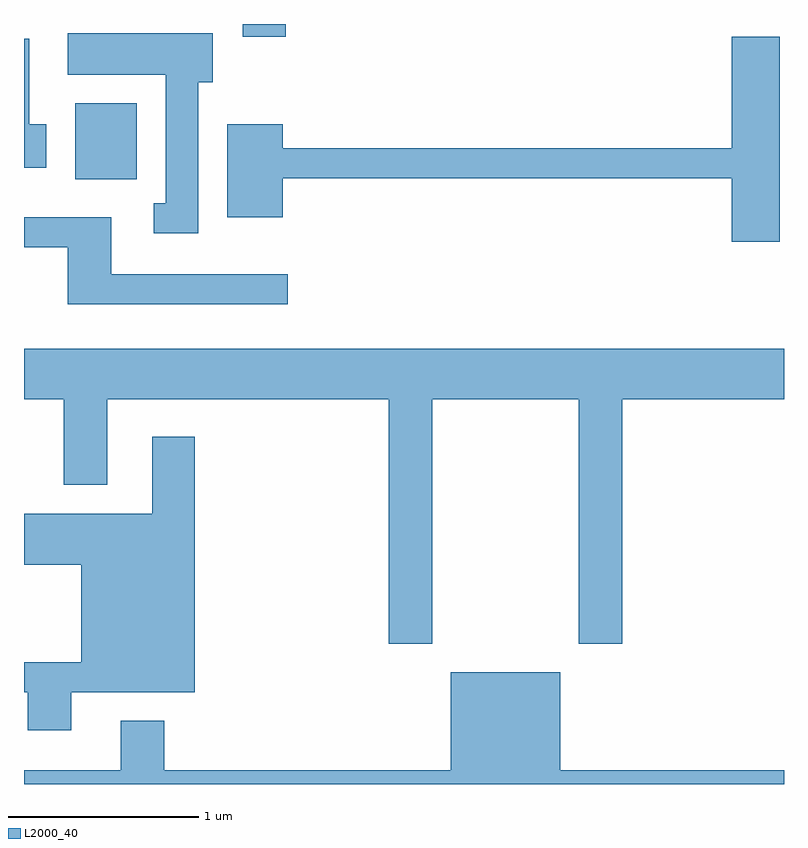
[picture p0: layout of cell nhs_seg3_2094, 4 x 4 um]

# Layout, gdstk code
import gdstk
lib = gdstk.Library(unit=1e-6, precision=1e-09)
def R(c, l, rs):  # rectangles x0, y0, x1, y1
    for r in rs: c.add(gdstk.rectangle(r[:2], r[2:], *l))
def P(c, l, *ps):  # polygons
    for p in ps: c.add(gdstk.Polygon(p, *l))
L2000_40 = (2000, 40)

nhs_seg3_2094 = lib.new_cell('nhs_seg3_2094')
R(nhs_seg3_2094, L2000_40, [(245.881,1227.076,246.204,1227.474), (246.761,1227.826,246.989,1227.892)])
P(nhs_seg3_2094, L2000_40, [(246.529,1227.586),(246.604,1227.586),(246.604,1227.844),(245.841,1227.844),(245.841,1227.626),(246.356,1227.626),(246.356,1226.949),(246.293,1226.949),(246.293,1226.791),(246.529,1226.791)],
  [(249.589,1227.824),(249.336,1227.824),(249.336,1227.239),(246.974,1227.239),(246.974,1227.364),(246.681,1227.364),(246.681,1226.876),(246.974,1226.876),(246.974,1227.081),(249.336,1227.081),(249.336,1226.746),(249.589,1226.746)],
  [(245.729,1227.364),(245.639,1227.364),(245.639,1227.814),(245.611,1227.814),(245.611,1227.136),(245.729,1227.136)],
  [(246.998,1226.574),(246.069,1226.574),(246.069,1226.874),(245.611,1226.874),(245.611,1226.716),(245.841,1226.716),(245.841,1226.416),(246.998,1226.416)],
  [(247.759,1225.916),(248.531,1225.916),(248.531,1224.631),(248.759,1224.631),(248.759,1225.916),(249.611,1225.916),(249.611,1226.184),(245.611,1226.184),(245.611,1225.916),(245.821,1225.916),(245.821,1225.466),(246.049,1225.466),(246.049,1225.916),(247.531,1225.916),(247.531,1224.631),(247.759,1224.631)],
  [(245.859,1224.376),(246.509,1224.376),(246.509,1225.719),(246.286,1225.719),(246.286,1225.314),(245.611,1225.314),(245.611,1225.046),(245.911,1225.046),(245.911,1224.534),(245.611,1224.534),(245.611,1224.376),(245.631,1224.376),(245.631,1224.176),(245.859,1224.176)],
  [(249.611,1223.964),(248.434,1223.964),(248.434,1224.479),(247.856,1224.479),(247.856,1223.964),(246.349,1223.964),(246.349,1224.224),(246.121,1224.224),(246.121,1223.964),(245.611,1223.964),(245.611,1223.892),(249.611,1223.892)])

lib.write_gds('nhs_seg3_2094.gds')
